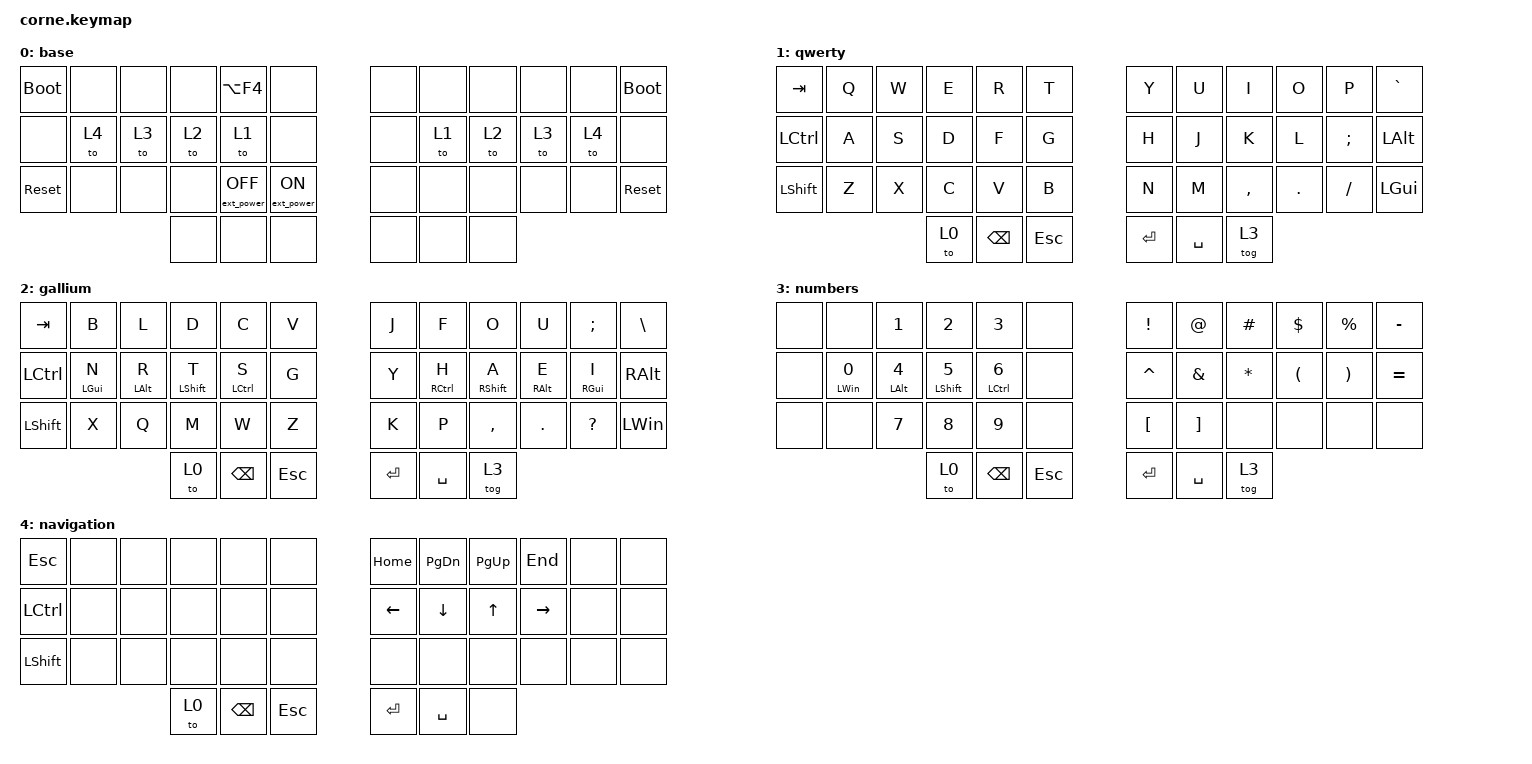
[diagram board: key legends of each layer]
/*
 * Copyright (c) 2020 The ZMK Contributors
 *
 * SPDX-License-Identifier: MIT
 */

//
//   Miryoku-style layout — QWERTY base, vim arrows (HJKL), GACS home row mods
//   Adapted from TOTEM config for Corne (42-key)
//
//   Layer 0: BASE    — QWERTY + home row mods
//   Layer 1: NAV     — vim arrows, clipboard, nav (hold SPACE)
//   Layer 2: NUM     — numpad left hand (hold BSPC)
//   Layer 3: MEDIA   — media, BT, RGB (hold ESC)
//   Layer 4: SYM     — symbols left hand (hold ENTER)
//   Layer 5: FUN     — function keys left hand (hold DEL)
//   Layer 6: MOUSE   — mouse movement, scroll, buttons (hold TAB)

#include <behaviors.dtsi>
#include <dt-bindings/zmk/bt.h>
#include <dt-bindings/zmk/ext_power.h>
#include <dt-bindings/zmk/keys.h>
#include <dt-bindings/zmk/outputs.h>
#include <dt-bindings/zmk/pointing.h>
#include <dt-bindings/zmk/rgb.h>

#define BASE  0
#define NAV   1
#define NUM   2
#define MEDIA 3
#define SYM   4
#define FUN   5
#define MOUSE 6

// Corne key positions (42 keys):
// Row 0:  0  1  2  3  4  5    6  7  8  9  10  11
// Row 1: 12 13 14 15 16 17   18 19 20 21  22  23
// Row 2: 24 25 26 27 28 29   30 31 32 33  34  35
// Thumb:          36 37 38   39 40 41

&mt {
    flavor = "tap-preferred";
    tapping-term-ms = <250>;
    quick-tap-ms = <175>;
    require-prior-idle-ms = <150>;
};

&lt {
    flavor = "balanced";
    tapping-term-ms = <200>;
    quick-tap-ms = <175>;
};

/ {
    combos {
        compatible = "zmk,combos";

        // -- Tier 1: Essential --

        combo_caps_word {
            bindings = <&caps_word>;
            key-positions = <16 19>;        // F + J (index home row)
            timeout-ms = <30>;
            require-prior-idle-ms = <150>;
        };

        combo_esc {
            bindings = <&kp ESC>;
            key-positions = <2 3>;          // W + E
            timeout-ms = <30>;
            require-prior-idle-ms = <150>;
        };

        combo_bspc {
            bindings = <&kp BSPC>;
            key-positions = <8 9>;          // I + O
            timeout-ms = <30>;
            require-prior-idle-ms = <150>;
        };

        combo_del {
            bindings = <&kp DEL>;
            key-positions = <9 10>;         // O + P
            timeout-ms = <30>;
            require-prior-idle-ms = <150>;
        };

        // -- Tier 2: High Value --

        combo_tab {
            bindings = <&kp TAB>;
            key-positions = <14 15>;        // S + D
            timeout-ms = <30>;
            require-prior-idle-ms = <150>;
        };

        combo_enter {
            bindings = <&kp RET>;
            key-positions = <20 21>;        // K + L
            timeout-ms = <30>;
            require-prior-idle-ms = <150>;
        };

        combo_copy {
            bindings = <&kp LG(C)>;
            key-positions = <26 27>;        // X + C
            timeout-ms = <30>;
            require-prior-idle-ms = <150>;
        };

        combo_paste {
            bindings = <&kp LG(V)>;
            key-positions = <27 28>;        // C + V
            timeout-ms = <30>;
            require-prior-idle-ms = <150>;
        };

        combo_cut {
            bindings = <&kp LG(X)>;
            key-positions = <26 28>;        // X + V (skip middle)
            timeout-ms = <30>;
            require-prior-idle-ms = <150>;
        };

        // -- Tier 3: Vertical Symbol Combos --

        combo_minus {
            bindings = <&kp MINUS>;
            key-positions = <19 31>;        // J + M (right index vertical)
            timeout-ms = <40>;
            require-prior-idle-ms = <100>;
        };

        combo_underscore {
            bindings = <&kp UNDER>;
            key-positions = <18 30>;        // H + N (right inner vertical)
            timeout-ms = <40>;
            require-prior-idle-ms = <100>;
        };

        combo_equal {
            bindings = <&kp EQUAL>;
            key-positions = <16 28>;        // F + V (left index vertical)
            timeout-ms = <40>;
            require-prior-idle-ms = <100>;
        };

        combo_grave {
            bindings = <&kp GRAVE>;
            key-positions = <14 26>;        // S + X (left ring vertical)
            timeout-ms = <40>;
            require-prior-idle-ms = <100>;
        };

        combo_semi {
            bindings = <&kp SEMI>;
            key-positions = <21 22>;        // L + ' (right ring+pinky home)
            timeout-ms = <30>;
            require-prior-idle-ms = <150>;
        };
    };

    macros {
        hyper: hyper {
            compatible = "zmk,behavior-macro";
            #binding-cells = <0>;
            bindings =
                <&macro_press &kp LGUI &kp LALT &kp LCTRL &kp LSHFT>,
                <&macro_pause_for_release>,
                <&macro_release &kp LGUI &kp LALT &kp LCTRL &kp LSHFT>;
        };
    };

    keymap {
        compatible = "zmk,keymap";

        base {
            bindings = <
&bootloader  &none  &none  &none  &kp LA(F4)         &none               &none  &none  &none  &none  &none  &bootloader
&none        &to 4  &to 3  &to 2  &to 1              &none               &none  &to 1  &to 2  &to 3  &to 4  &none
&sys_reset   &none  &none  &none  &ext_power EP_OFF  &ext_power EP_ON    &none  &none  &none  &none  &none  &sys_reset
                           &none  &none              &none               &none  &none  &none
            >;
        };

        qwerty {
            bindings = <
&kp TAB    &kp Q  &kp W  &kp E  &kp R     &kp T      &kp Y      &kp U      &kp I      &kp O    &kp P     &kp GRAVE
&kp LCTRL  &kp A  &kp S  &kp D  &kp F     &kp G      &kp H      &kp J      &kp K      &kp L    &kp SEMI  &kp LALT
&kp LSHFT  &kp Z  &kp X  &kp C  &kp V     &kp B      &kp N      &kp M      &kp COMMA  &kp DOT  &kp FSLH  &kp LGUI
                         &to 0  &kp BSPC  &kp ESC    &kp ENTER  &kp SPACE  &tog 3
            >;
        };

        gallium {
            bindings = <
&kp TAB    &kp B           &kp L           &kp D             &kp C               &kp V      &kp J      &kp F                &kp O              &kp U            &kp SEMI         &kp BACKSLASH
&kp LCTRL  &mt LEFT_GUI N  &mt LEFT_ALT R  &mt LEFT_SHIFT T  &mt LEFT_CONTROL S  &kp G      &kp Y      &mt RIGHT_CONTROL H  &mt RIGHT_SHIFT A  &mt RIGHT_ALT E  &mt RIGHT_GUI I  &kp RIGHT_ALT
&kp LSHFT  &kp X           &kp Q           &kp M             &kp W               &kp Z      &kp K      &kp P                &kp COMMA          &kp DOT          &kp QUESTION     &kp LEFT_WIN
                                           &to 0             &kp BSPC            &kp ESC    &kp ENTER  &kp SPACE            &tog 3
            >;
        };

        numbers {
            bindings = <
&none  &none            &kp N1           &kp N2             &kp N3               &none      &kp EXCLAMATION  &kp AT         &kp HASH      &kp DOLLAR            &kp PERCENT            &kp MINUS
&none  &mt LEFT_WIN N0  &mt LEFT_ALT N4  &mt LEFT_SHIFT N5  &mt LEFT_CONTROL N6  &none      &kp CARET        &kp AMPERSAND  &kp ASTERISK  &kp LEFT_PARENTHESIS  &kp RIGHT_PARENTHESIS  &kp EQUAL
&none  &none            &kp N7           &kp N8             &kp N9               &none      &kp LBKT         &kp RBKT       &none         &none                 &none                  &none
                                         &to 0              &kp BSPC             &kp ESC    &kp ENTER        &kp SPACE      &tog 3
            >;
        };

        navigation {
            bindings = <
&kp ESC    &none  &none  &none  &none          &none         &kp HOME   &kp PG_DN  &kp PG_UP  &kp END    &none  &none
&kp LCTRL  &none  &none  &none  &none          &none         &kp LEFT   &kp DOWN   &kp UP     &kp RIGHT  &none  &none
&kp LSHFT  &none  &none  &none  &none          &none         &none      &none      &none      &none      &none  &none
                         &to 0  &kp BACKSPACE  &kp ESCAPE    &kp ENTER  &kp SPACE  &none
            >;
        };
    };
};
